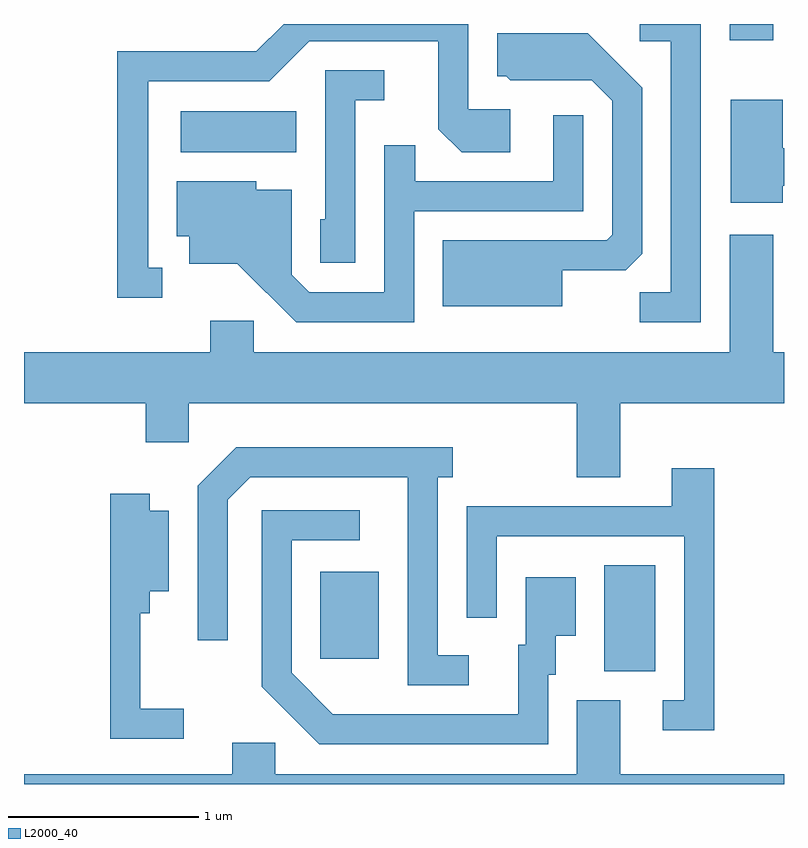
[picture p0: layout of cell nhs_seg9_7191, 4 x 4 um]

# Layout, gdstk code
import gdstk
lib = gdstk.Library(unit=1e-6, precision=1e-09)
def R(c, l, rs):  # rectangles x0, y0, x1, y1
    for r in rs: c.add(gdstk.rectangle(r[:2], r[2:], *l))
def P(c, l, *ps):  # polygons
    for p in ps: c.add(gdstk.Polygon(p, *l))
L2000_40 = (2000, 40)

nhs_seg9_7191 = lib.new_cell('nhs_seg9_7191')
R(nhs_seg9_7191, L2000_40, [(400.666,2037.026,400.934,2037.584), (399.171,2037.091,399.479,2037.549), (398.436,2039.756,399.044,2039.974), (401.326,2040.346,401.554,2040.432)])
P(nhs_seg9_7191, L2000_40, [(401.174,2040.432),(400.853,2040.432),(400.853,2040.341),(401.016,2040.341),(401.016,2039.019),(400.853,2039.019),(400.853,2038.861),(401.174,2038.861)],
  [(398.338,2039.149),(398.264,2039.149),(398.264,2040.131),(398.902,2040.131),(399.112,2040.341),(399.791,2040.341),(399.791,2039.879),(399.914,2039.756),(400.169,2039.756),(400.169,2039.984),(399.949,2039.984),(399.949,2040.432),(398.977,2040.432),(398.834,2040.289),(398.101,2040.289),(398.101,2038.991),(398.338,2038.991)],
  [(400.444,2039.136),(400.779,2039.136),(400.864,2039.222),(400.864,2040.097),(400.577,2040.384),(400.101,2040.384),(400.101,2040.156),(400.149,2040.156),(400.169,2040.136),(400.599,2040.136),(400.706,2040.029),(400.706,2039.322),(400.679,2039.294),(399.816,2039.294),(399.816,2038.946),(400.444,2038.946)],
  [(399.354,2040.031),(399.508,2040.031),(399.508,2040.189),(399.196,2040.189),(399.196,2039.404),(399.171,2039.404),(399.171,2039.176),(399.354,2039.176)],
  [(401.604,2039.581),(401.611,2039.581),(401.611,2039.779),(401.604,2039.779),(401.604,2040.034),(401.331,2040.034),(401.331,2039.491),(401.604,2039.491)],
  [(399.664,2039.446),(400.554,2039.446),(400.554,2039.953),(400.396,2039.953),(400.396,2039.604),(399.669,2039.604),(399.669,2039.793),(399.506,2039.793),(399.506,2039.019),(399.112,2039.019),(399.019,2039.112),(399.019,2039.559),(398.834,2039.559),(398.834,2039.604),(398.416,2039.604),(398.416,2039.316),(398.481,2039.316),(398.481,2039.171),(398.734,2039.171),(399.044,2038.861),(399.664,2038.861)],
  [(400.749,2038.436),(401.611,2038.436),(401.611,2038.704),(401.554,2038.704),(401.554,2039.324),(401.326,2039.324),(401.326,2038.704),(398.819,2038.704),(398.819,2038.869),(398.591,2038.869),(398.591,2038.704),(397.611,2038.704),(397.611,2038.436),(398.251,2038.436),(398.251,2038.231),(398.479,2038.231),(398.479,2038.436),(400.521,2038.436),(400.521,2038.046),(400.749,2038.046)],
  [(399.953,2037.109),(399.789,2037.109),(399.789,2038.046),(399.868,2038.046),(399.868,2038.204),(398.729,2038.204),(398.526,2038.002),(398.526,2037.188),(398.684,2037.188),(398.684,2037.929),(398.802,2038.046),(399.631,2038.046),(399.631,2036.951),(399.953,2036.951)],
  [(401.244,2038.094),(401.021,2038.094),(401.021,2037.894),(399.941,2037.894),(399.941,2037.308),(400.099,2037.308),(400.099,2037.736),(401.086,2037.736),(401.086,2036.874),(400.973,2036.874),(400.973,2036.716),(401.244,2036.716)],
  [(398.453,2036.829),(398.224,2036.829),(398.224,2037.331),(398.274,2037.331),(398.274,2037.446),(398.374,2037.446),(398.374,2037.869),(398.274,2037.869),(398.274,2037.959),(398.066,2037.959),(398.066,2036.671),(398.453,2036.671)],
  [(400.369,2037.006),(400.409,2037.006),(400.409,2037.211),(400.514,2037.211),(400.514,2037.519),(400.251,2037.519),(400.251,2037.164),(400.211,2037.164),(400.211,2036.799),(399.237,2036.799),(399.019,2037.017),(399.019,2037.716),(399.378,2037.716),(399.378,2037.874),(398.861,2037.874),(398.861,2036.944),(399.164,2036.641),(400.369,2036.641)],
  [(401.611,2036.484),(400.749,2036.484),(400.749,2036.874),(400.521,2036.874),(400.521,2036.484),(398.934,2036.484),(398.934,2036.649),(398.706,2036.649),(398.706,2036.484),(397.611,2036.484),(397.611,2036.432),(401.611,2036.432)])

lib.write_gds('nhs_seg9_7191.gds')
